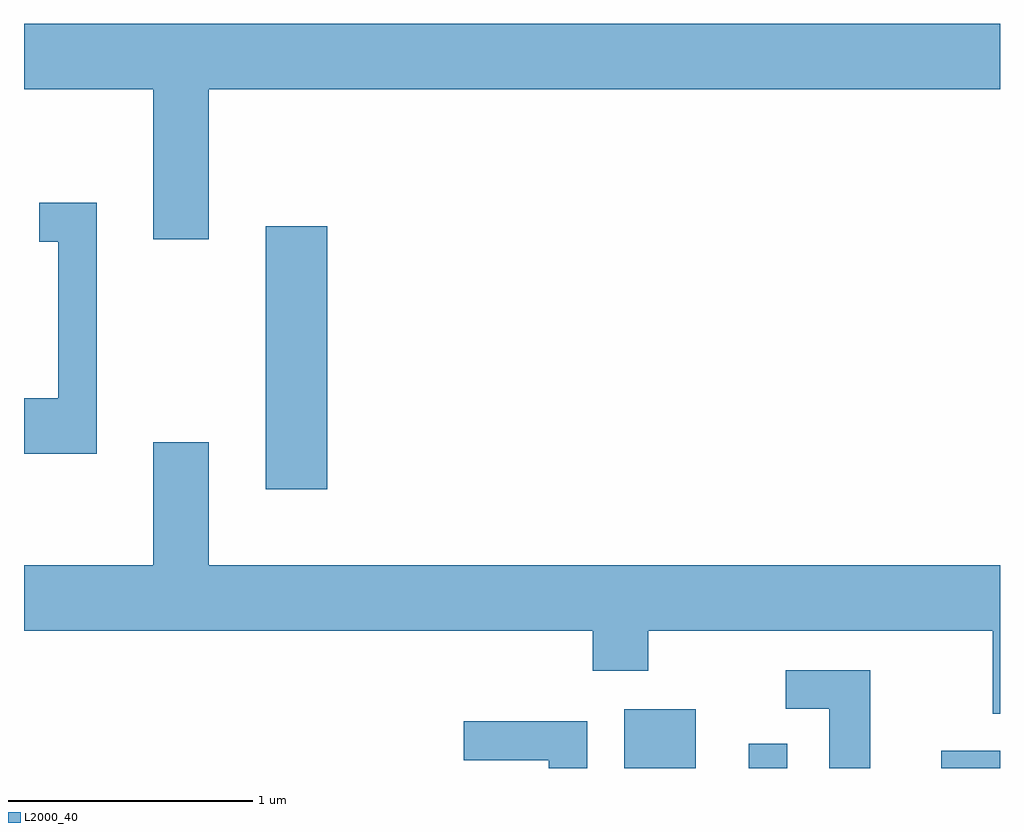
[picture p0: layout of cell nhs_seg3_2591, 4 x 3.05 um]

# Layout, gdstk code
import gdstk
lib = gdstk.Library(unit=1e-6, precision=1e-09)
def R(c, l, rs):  # rectangles x0, y0, x1, y1
    for r in rs: c.add(gdstk.rectangle(r[:2], r[2:], *l))
def P(c, l, *ps):  # polygons
    for p in ps: c.add(gdstk.Polygon(p, *l))
L2000_40 = (2000, 40)

nhs_seg3_2591 = lib.new_cell('nhs_seg3_2591')
R(nhs_seg3_2591, L2000_40, [(264.071,1129.892,264.364,1130.134), (264.581,1129.892,264.739,1129.993), (265.371,1129.892,265.611,1129.964), (262.601,1131.036,262.854,1132.114)])
P(nhs_seg3_2591, L2000_40, [(262.369,1132.676),(265.611,1132.676),(265.611,1132.944),(261.611,1132.944),(261.611,1132.676),(262.141,1132.676),(262.141,1132.061),(262.369,1132.061)],
  [(261.909,1132.209),(261.673,1132.209),(261.673,1132.051),(261.751,1132.051),(261.751,1131.409),(261.611,1131.409),(261.611,1131.181),(261.909,1131.181)],
  [(265.611,1130.724),(262.369,1130.724),(262.369,1131.229),(262.141,1131.229),(262.141,1130.724),(261.611,1130.724),(261.611,1130.456),(263.941,1130.456),(263.941,1130.291),(264.169,1130.291),(264.169,1130.456),(265.581,1130.456),(265.581,1130.116),(265.611,1130.116)],
  [(265.079,1130.294),(264.733,1130.294),(264.733,1130.136),(264.911,1130.136),(264.911,1129.892),(265.079,1129.892)],
  [(263.919,1130.084),(263.413,1130.084),(263.413,1129.926),(263.761,1129.926),(263.761,1129.892),(263.919,1129.892)])

lib.write_gds('nhs_seg3_2591.gds')
